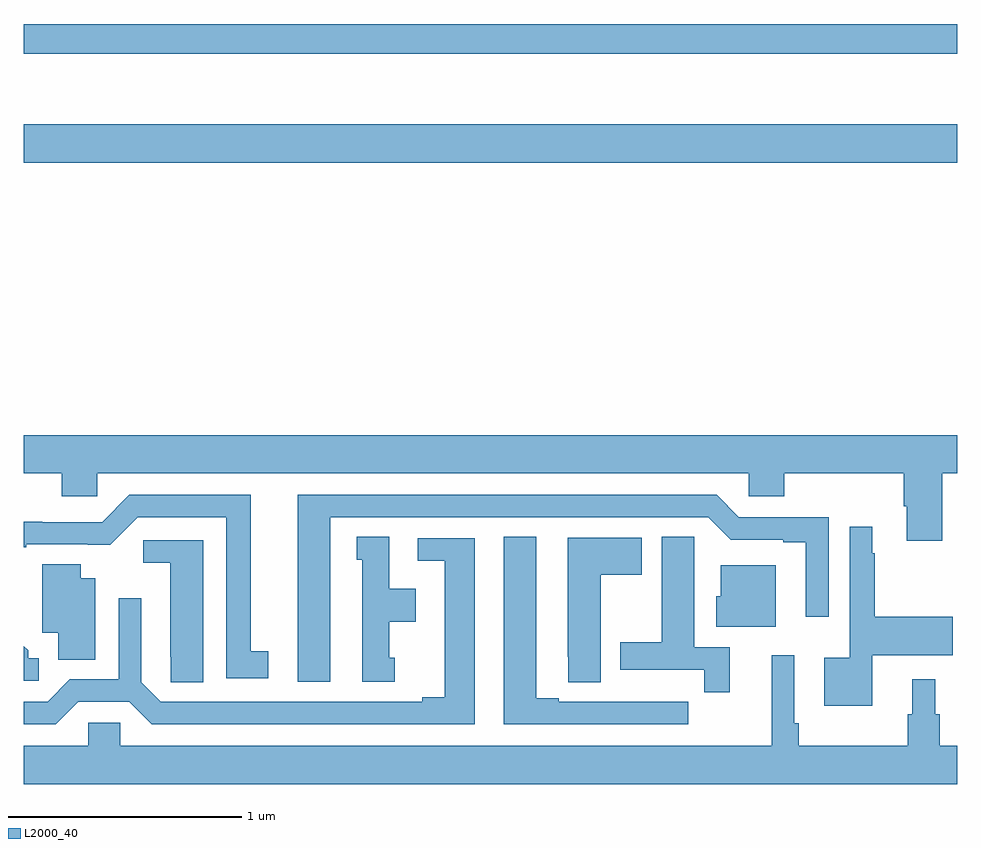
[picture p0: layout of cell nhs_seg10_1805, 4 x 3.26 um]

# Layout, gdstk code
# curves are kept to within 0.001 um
import gdstk
lib = gdstk.Library(unit=1e-6, precision=1e-09)
def R(c, l, rs):  # rectangles x0, y0, x1, y1
    for r in rs: c.add(gdstk.rectangle(r[:2], r[2:], *l))
def P(c, l, *ps):  # polygons
    for p in ps: c.add(gdstk.Polygon(p, *l))
L2000_40 = (2000, 40)

nhs_seg10_1805 = lib.new_cell('nhs_seg10_1805')
R(nhs_seg10_1805, L2000_40, [(205,1309.64,209,1309.804), (205,1310.106,209,1310.234)])
P(nhs_seg10_1805, L2000_40, [(208.937,1308.308),(209,1308.308),(209,1308.472),(205,1308.472),(205,1308.308),(205.163,1308.308),(205.163,1308.21),(205.314,1308.21),(205.314,1308.308),(208.107,1308.308),(208.107,1308.21),(208.259,1308.21),(208.259,1308.308),(208.772,1308.308),(208.772,1308.166),(208.784,1308.166),(208.784,1308.018),(208.937,1308.018)],
  [(206.314,1308.12),(207.933,1308.12),(208.029,1308.024),(208.256,1308.024),(208.256,1308.012),(208.352,1308.012),(208.352,1307.694),(208.449,1307.694),(208.449,1308.12),(208.065,1308.12),(207.969,1308.216),(206.174,1308.216),(206.174,1307.415),(206.314,1307.415)],
  [(206.047,1307.546),(205.972,1307.546),(205.972,1308.216),(205.452,1308.216),(205.335,1308.099),(205.079,1308.099),(205.079,1308.101),(205,1308.101),(205,1307.991),(205.009,1307.991),(205.009,1308.003),(205.37,1308.002),(205.488,1308.12),(205.868,1308.12),(205.868,1307.43),(206.047,1307.43)],
  [(208.636,1307.528),(208.981,1307.528),(208.981,1307.694),(208.648,1307.694),(208.648,1307.966),(208.636,1307.966),(208.636,1308.079),(208.539,1308.079),(208.539,1307.518),(208.43,1307.518),(208.43,1307.312),(208.636,1307.312)],
  [(206.59,1307.517),(206.566,1307.517),(206.566,1307.672),(206.68,1307.672),(206.68,1307.812),(206.566,1307.812),(206.566,1308.035),(206.426,1308.035),(206.426,1307.937),(206.45,1307.937),(206.45,1307.415),(206.59,1307.415)],
  [(207.847,1307.328),(207.734,1307.328),(207.734,1307.329),(207.568,1307.329),(207.568,1307.328),(207.292,1307.328),(207.292,1307.343),(207.196,1307.343),(207.196,1308.035),(207.056,1308.035),(207.056,1307.232),(207.847,1307.232)],
  [(208.025,1307.562),(207.874,1307.562),(207.874,1307.924),(207.873,1307.924),(207.873,1308.035),(207.734,1308.035),(207.734,1307.583),(207.557,1307.583),(207.557,1307.466),(207.916,1307.466),(207.916,1307.37),(208.025,1307.37)],
  [(207.472,1307.872),(207.649,1307.872),(207.649,1308.031),(207.332,1308.031),(207.332,1307.521),(207.333,1307.521),(207.333,1307.413),(207.472,1307.413)],
  [(205.233,1307.328),(205.451,1307.328),(205.547,1307.232),(206.932,1307.232),(206.932,1308.03),(206.688,1308.03),(206.688,1307.934),(206.804,1307.934),(206.804,1307.348),(206.708,1307.348),(206.708,1307.328),(205.587,1307.328),(205.503,1307.412),(205.503,1307.773),(205.407,1307.773),(205.407,1307.424),(205.197,1307.424),(205.101,1307.328),(205,1307.328),(205,1307.232),(205.137,1307.232)],
  [(205.768,1308.021),(205.512,1308.021),(205.512,1307.924),(205.628,1307.924),(205.628,1307.521),(205.629,1307.521),(205.629,1307.413),(205.768,1307.413)],
  [(205.306,1307.857),(205.243,1307.857),(205.243,1307.918),(205.079,1307.918),(205.079,1307.624),(205.148,1307.624),(205.148,1307.509),(205.306,1307.509)],
  [(208.222,1307.914),(207.986,1307.914),(207.986,1307.781),(207.968,1307.781),(207.968,1307.651),(208.222,1307.651)],
  [(205.063,1307.514),(205.018,1307.514),(205.018,1307.549),(205,1307.567),(205,1307.418),(205.063,1307.418)],
  [(209,1307.14),(208.925,1307.14),(208.925,1307.274),(208.906,1307.274),(208.906,1307.425),(208.808,1307.425),(208.808,1307.274),(208.789,1307.274),(208.789,1307.14),(208.322,1307.14),(208.322,1307.236),(208.302,1307.236),(208.302,1307.527),(208.205,1307.527),(208.205,1307.14),(205.413,1307.14),(205.413,1307.238),(205.275,1307.238),(205.275,1307.14),(205,1307.14),(205,1306.976),(209,1306.976)])

lib.write_gds('nhs_seg10_1805.gds')
